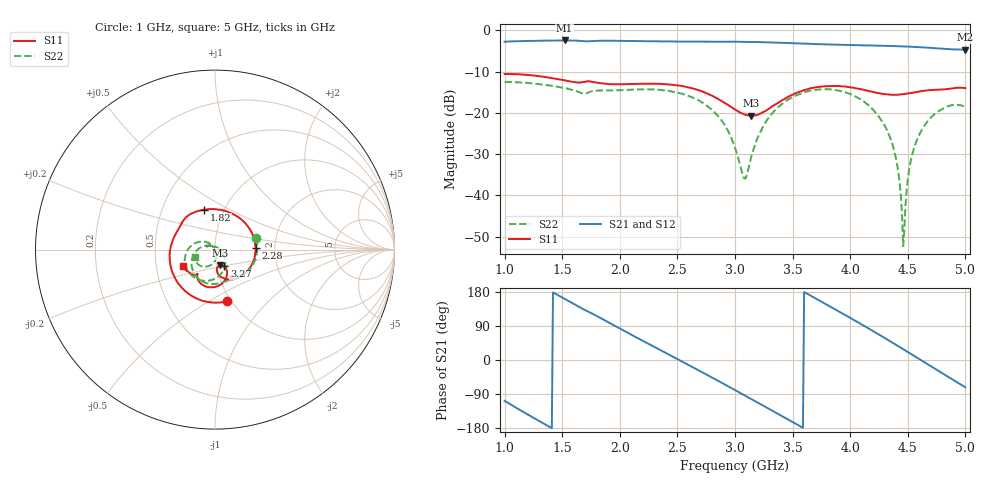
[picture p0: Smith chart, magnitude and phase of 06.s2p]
!Agilent Technologies,N5224A,MY51441093,A.09.90.21
!Agilent N5224A: A.09.90.21
!Date: Wednesday, October 01, 2025 16:37:37
!Correction: S11(Full 2 Port(1,2))
!S21(Full 2 Port(1,2))
!S12(Full 2 Port(1,2))
!S22(Full 2 Port(1,2))
!S2P File: Measurements: S11, S21, S12, S22:
# Hz S  dB  R 50
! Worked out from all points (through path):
!   401 points, 1 GHz to 5 GHz, reference 50 ohm
!   highest |S21| = -2.44 dB at 1.52 GHz (marker M1); lowest = -4.7 dB at 5 GHz (marker M2)
!   lowest |S11| = -20.7 dB at 3.14 GHz (marker M3), VSWR 1.20, Z = 51.9 - j9.25 ohm
!   |S11| at or under -10 dB: start of sweep to end of sweep
!   |S22| runs from -52.3 to -12.5 dB; largest |S21 - S12| = 0.0038
!   S11 on the Smith chart (normalised r, x): 1 GHz: 0.96, -0.60; 1.82 GHz: 0.81, +0.38; 2.28 GHz: 1.58, +0.03; 3.27 GHz: 1.09, -0.21; 5 GHz: 0.69, -0.13
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1e9  -10.59 -76.9  -2.74 -107.9  -2.71 -108.0  -12.49 15.6
1.28e9  -11.03 -132.5  -2.51 -157.6  -2.51 -157.6  -12.95 -25.2
1.52e9  -12.11 177.3  -2.44 161.5  -2.43 161.5  -13.96 -50.9
1.67e9  -12.59 145.5  -2.57 136.2  -2.56 136.1  -15.21 -60.9
1.82e9  -12.75 104.7  -2.50 112.7  -2.49 112.7  -14.57 -67.4
2.04e9  -13.04 52.3  -2.53 76.5  -2.52 76.5  -14.45 -83.9
2.28e9  -12.91 2.1  -2.64 37.7  -2.64 37.7  -14.31 -105.7
2.34e9  -12.94 -9.0  -2.66 28.1  -2.66 28.1  -14.40 -112.1
2.65e9  -14.20 -58.0  -2.71 -21.7  -2.70 -21.7  -16.52 -151.1
2.87e9  -16.89 -81.2  -2.73 -57.7  -2.70 -57.6  -21.29 174.0
3e9  -19.14 -84.8  -2.75 -79.3  -2.72 -79.3  -28.39 140.8
3.08e9  -20.35 -79.9  -2.77 -92.7  -2.75 -92.7  -35.87 69.8
3.14e9  -20.69 -72.9  -2.80 -102.8  -2.78 -102.8  -30.81 -1.9
3.27e9  -19.44 -60.9  -2.88 -124.8  -2.86 -124.8  -22.07 -44.3
3.67e9  -13.97 -82.7  -3.28 167.6  -3.26 167.5  -14.53 -113.9
4.03e9  -13.92 -115.1  -3.56 106.0  -3.54 105.9  -15.80 -172.9
4.34e9  -15.57 -125.7  -3.76 50.8  -3.73 50.5  -25.53 134.2
4.41e9  -15.61 -125.6  -3.82 37.9  -3.79 37.7  -33.02 119.5
4.46e9  -15.48 -125.7  -3.87 28.6  -3.85 28.4  -52.31 50.9
4.53e9  -15.16 -126.6  -3.96 15.6  -3.93 15.4  -31.10 -72.0
4.62e9  -14.71 -129.9  -4.09 -1.3  -4.07 -1.5  -24.19 -89.7
5e9  -14.00 -153.0  -4.65 -72.1  -4.64 -72.3  -18.48 -158.9
